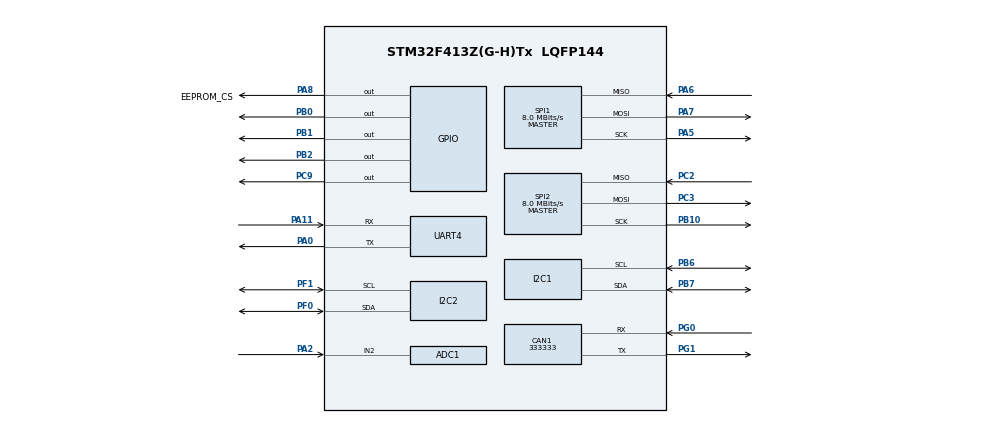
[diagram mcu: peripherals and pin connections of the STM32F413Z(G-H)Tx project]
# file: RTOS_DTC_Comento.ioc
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ADC1.Channel-2\#ChannelRegularConversion=ADC_CHANNEL_2
ADC1.NbrOfConversionFlag=1
ADC1.Rank-2\#ChannelRegularConversion=1
ADC1.SamplingTime-2\#ChannelRegularConversion=ADC_SAMPLETIME_3CYCLES
ADC1.master=1
CAN1.CalculateBaudRate=333333
CAN1.CalculateTimeBit=3000
CAN1.CalculateTimeQuantum=1000.0
Dma.I2C1_RX.7.Direction=DMA_PERIPH_TO_MEMORY
Dma.I2C1_RX.7.FIFOMode=DMA_FIFOMODE_DISABLE
Dma.I2C1_RX.7.Instance=DMA1_Stream0
Dma.I2C1_RX.7.MemDataAlignment=DMA_MDATAALIGN_BYTE
Dma.I2C1_RX.7.MemInc=DMA_MINC_ENABLE
Dma.I2C1_RX.7.Mode=DMA_NORMAL
Dma.I2C1_RX.7.PeriphDataAlignment=DMA_PDATAALIGN_BYTE
Dma.I2C1_RX.7.PeriphInc=DMA_PINC_DISABLE
Dma.I2C1_RX.7.Priority=DMA_PRIORITY_LOW
Dma.I2C1_TX.0.Direction=DMA_MEMORY_TO_PERIPH
Dma.I2C1_TX.0.FIFOMode=DMA_FIFOMODE_DISABLE
Dma.I2C1_TX.0.Instance=DMA1_Stream6
Dma.I2C1_TX.0.MemDataAlignment=DMA_MDATAALIGN_BYTE
Dma.I2C1_TX.0.MemInc=DMA_MINC_ENABLE
Dma.I2C1_TX.0.Mode=DMA_NORMAL
Dma.I2C1_TX.0.PeriphDataAlignment=DMA_PDATAALIGN_BYTE
Dma.I2C1_TX.0.PeriphInc=DMA_PINC_DISABLE
Dma.I2C1_TX.0.Priority=DMA_PRIORITY_MEDIUM
Dma.I2C2_RX.1.Direction=DMA_PERIPH_TO_MEMORY
Dma.I2C2_RX.1.FIFOMode=DMA_FIFOMODE_DISABLE
Dma.I2C2_RX.1.Instance=DMA1_Stream2
Dma.I2C2_RX.1.MemDataAlignment=DMA_MDATAALIGN_BYTE
Dma.I2C2_RX.1.MemInc=DMA_MINC_ENABLE
Dma.I2C2_RX.1.Mode=DMA_NORMAL
Dma.I2C2_RX.1.PeriphDataAlignment=DMA_PDATAALIGN_BYTE
Dma.I2C2_RX.1.PeriphInc=DMA_PINC_DISABLE
Dma.I2C2_RX.1.Priority=DMA_PRIORITY_LOW
Dma.I2C2_TX.2.Direction=DMA_MEMORY_TO_PERIPH
Dma.I2C2_TX.2.FIFOMode=DMA_FIFOMODE_DISABLE
Dma.I2C2_TX.2.Instance=DMA1_Stream7
Dma.I2C2_TX.2.MemDataAlignment=DMA_MDATAALIGN_BYTE
Dma.I2C2_TX.2.MemInc=DMA_MINC_ENABLE
Dma.I2C2_TX.2.Mode=DMA_NORMAL
Dma.I2C2_TX.2.PeriphDataAlignment=DMA_PDATAALIGN_BYTE
Dma.I2C2_TX.2.PeriphInc=DMA_PINC_DISABLE
Dma.I2C2_TX.2.Priority=DMA_PRIORITY_LOW
Dma.Request0=I2C1_TX
Dma.Request1=I2C2_RX
Dma.Request2=I2C2_TX
Dma.Request3=SPI1_RX
Dma.Request4=SPI1_TX
Dma.Request5=SPI2_RX
Dma.Request6=SPI2_TX
Dma.Request7=I2C1_RX
Dma.SPI1_RX.3.Direction=DMA_PERIPH_TO_MEMORY
Dma.SPI1_RX.3.FIFOMode=DMA_FIFOMODE_DISABLE
Dma.SPI1_RX.3.Instance=DMA2_Stream0
Dma.SPI1_RX.3.MemDataAlignment=DMA_MDATAALIGN_BYTE
Dma.SPI1_RX.3.MemInc=DMA_MINC_ENABLE
Dma.SPI1_RX.3.Mode=DMA_NORMAL
Dma.SPI1_RX.3.PeriphDataAlignment=DMA_PDATAALIGN_BYTE
Dma.SPI1_RX.3.PeriphInc=DMA_PINC_DISABLE
Dma.SPI1_RX.3.Priority=DMA_PRIORITY_LOW
Dma.SPI1_TX.4.Direction=DMA_MEMORY_TO_PERIPH
Dma.SPI1_TX.4.FIFOMode=DMA_FIFOMODE_DISABLE
Dma.SPI1_TX.4.Instance=DMA2_Stream3
Dma.SPI1_TX.4.MemDataAlignment=DMA_MDATAALIGN_BYTE
Dma.SPI1_TX.4.MemInc=DMA_MINC_ENABLE
Dma.SPI1_TX.4.Mode=DMA_NORMAL
Dma.SPI1_TX.4.PeriphDataAlignment=DMA_PDATAALIGN_BYTE
Dma.SPI1_TX.4.PeriphInc=DMA_PINC_DISABLE
Dma.SPI1_TX.4.Priority=DMA_PRIORITY_LOW
Dma.SPI2_RX.5.Direction=DMA_PERIPH_TO_MEMORY
Dma.SPI2_RX.5.FIFOMode=DMA_FIFOMODE_DISABLE
Dma.SPI2_RX.5.Instance=DMA1_Stream3
Dma.SPI2_RX.5.MemDataAlignment=DMA_MDATAALIGN_BYTE
Dma.SPI2_RX.5.MemInc=DMA_MINC_ENABLE
Dma.SPI2_RX.5.Mode=DMA_NORMAL
Dma.SPI2_RX.5.PeriphDataAlignment=DMA_PDATAALIGN_BYTE
Dma.SPI2_RX.5.PeriphInc=DMA_PINC_DISABLE
Dma.SPI2_RX.5.Priority=DMA_PRIORITY_LOW
Dma.SPI2_TX.6.Direction=DMA_MEMORY_TO_PERIPH
Dma.SPI2_TX.6.FIFOMode=DMA_FIFOMODE_DISABLE
Dma.SPI2_TX.6.Instance=DMA1_Stream4
Dma.SPI2_TX.6.MemDataAlignment=DMA_MDATAALIGN_BYTE
Dma.SPI2_TX.6.MemInc=DMA_MINC_ENABLE
Dma.SPI2_TX.6.Mode=DMA_NORMAL
Dma.SPI2_TX.6.PeriphDataAlignment=DMA_PDATAALIGN_BYTE
Dma.SPI2_TX.6.PeriphInc=DMA_PINC_DISABLE
Dma.SPI2_TX.6.Priority=DMA_PRIORITY_LOW
FREERTOS.Mutexes01=CommMutexHandle,Dynamic,NULL,Available
FREERTOS.Queues01=CanQueue,8,8,1,Dynamic,NULL,NULL
FREERTOS.Tasks01=defaultTask,24,128,StartDefaultTask,Default,NULL,Dynamic,NULL,NULL;I2CTask,24,128,StartI2CTask,Default,NULL,Dynamic,NULL,NULL;SPITask,24,128,StartSPITask,Default,NULL,Dynamic,NULL,NULL;CANTask,24,128,StartCANTask,Default,NULL,Dynamic,NULL,NULL;UARTTask,24,128,StartUARTTask,Default,NULL,Dynamic,NULL,NULL
Mcu.Family=STM32F4
Mcu.Name=STM32F413Z(G-H)Tx
Mcu.Package=LQFP144
NVIC.CAN1_RX0_IRQn=true\:5\:0\:false\:false\:true\:true\:true\:true\:true
NVIC.CAN1_TX_IRQn=true\:5\:0\:false\:false\:true\:true\:true\:true\:true
NVIC.DMA1_Stream0_IRQn=true\:5\:0\:false\:false\:true\:true\:false\:true\:true
NVIC.DMA1_Stream2_IRQn=true\:5\:0\:false\:false\:true\:true\:false\:true\:true
NVIC.DMA1_Stream3_IRQn=true\:5\:0\:false\:false\:true\:true\:false\:true\:true
NVIC.DMA1_Stream4_IRQn=true\:5\:0\:false\:false\:true\:true\:false\:true\:true
NVIC.DMA1_Stream6_IRQn=true\:5\:0\:false\:false\:true\:false\:false\:true\:true
NVIC.DMA1_Stream7_IRQn=true\:5\:0\:false\:false\:true\:true\:false\:true\:true
NVIC.DMA2_Stream0_IRQn=true\:5\:0\:false\:false\:true\:true\:false\:true\:true
NVIC.DMA2_Stream3_IRQn=true\:5\:0\:false\:false\:true\:false\:false\:true\:true
NVIC.I2C1_ER_IRQn=true\:5\:0\:false\:false\:true\:true\:true\:true\:true
NVIC.I2C1_EV_IRQn=true\:5\:0\:false\:false\:true\:true\:true\:true\:true
NVIC.I2C2_EV_IRQn=true\:5\:0\:false\:false\:true\:true\:true\:true\:true
NVIC.PriorityGroup=NVIC_PRIORITYGROUP_4
NVIC.SPI1_IRQn=true\:5\:0\:false\:false\:true\:true\:true\:true\:true
NVIC.SPI2_IRQn=true\:5\:0\:false\:false\:true\:true\:true\:true\:true
NVIC.UART4_IRQn=true\:5\:0\:false\:false\:true\:true\:true\:true\:true
PA0.Mode=Asynchronous
PA0.Signal=UART4_TX
PA11.Mode=Asynchronous
PA11.Signal=UART4_RX
PA2.Signal=ADCx_IN2
PA5.Mode=Full_Duplex_Master
PA5.Signal=SPI1_SCK
PA6.Mode=Full_Duplex_Master
PA6.Signal=SPI1_MISO
PA7.Mode=Full_Duplex_Master
PA7.Signal=SPI1_MOSI
PA8.GPIO_Label=EEPROM_CS
PA8.PinState=GPIO_PIN_SET
PA8.Signal=GPIO_Output
PB0.GPIO_Speed=GPIO_SPEED_FREQ_MEDIUM
PB0.PinState=GPIO_PIN_SET
PB0.Signal=GPIO_Output
PB1.GPIO_Speed=GPIO_SPEED_FREQ_MEDIUM
PB1.PinState=GPIO_PIN_SET
PB1.Signal=GPIO_Output
PB10.Mode=Full_Duplex_Master
PB10.Signal=SPI2_SCK
PB2.GPIO_ModeDefaultOutputPP=GPIO_MODE_OUTPUT_OD
PB2.GPIO_PuPd=GPIO_NOPULL
PB2.GPIO_Speed=GPIO_SPEED_FREQ_MEDIUM
PB2.PinState=GPIO_PIN_SET
PB2.Signal=GPIO_Output
PB6.Mode=I2C
PB6.Signal=I2C1_SCL
PB7.Mode=I2C
PB7.Signal=I2C1_SDA
PC2.Mode=Full_Duplex_Master
PC2.Signal=SPI2_MISO
PC3.Mode=Full_Duplex_Master
PC3.Signal=SPI2_MOSI
PC9.PinState=GPIO_PIN_RESET
PC9.Signal=GPIO_Output
PF0.Mode=I2C
PF0.Signal=I2C2_SDA
PF1.Mode=I2C
PF1.Signal=I2C2_SCL
PG0.Mode=CAN_Activate
PG0.Signal=CAN1_RX
PG1.Mode=CAN_Activate
PG1.Signal=CAN1_TX
ProjectManager.HeapSize=0x200
ProjectManager.StackSize=0x400
ProjectManager.TargetToolchain=STM32CubeIDE
RCC.CortexFreq_Value=16000000
RCC.USBFreq_Value=96000000
RCC.VCOOutputFreq_Value=192000000
SH.ADCx_IN2.0=ADC1_IN2,IN2
SPI1.CalculateBaudRate=8.0 MBits/s
SPI1.Direction=SPI_DIRECTION_2LINES
SPI1.Mode=SPI_MODE_MASTER
SPI1.VirtualType=VM_MASTER
SPI2.CalculateBaudRate=8.0 MBits/s
SPI2.Direction=SPI_DIRECTION_2LINES
SPI2.Mode=SPI_MODE_MASTER
SPI2.VirtualType=VM_MASTER
UART4.VirtualMode=Asynchronous
VP_FREERTOS_VS_CMSIS_V2.Mode=CMSIS_V2
board=custom

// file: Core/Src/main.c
/* USER CODE BEGIN Header */
/**
  ******************************************************************************
  * @file           : main.c
  * @brief          : Main program body
  ******************************************************************************
  * @attention
  *
  * <h2><center>&copy; Copyright (c) 2025 STMicroelectronics.
  * All rights reserved.</center></h2>
  *
  * This software component is licensed by ST under BSD 3-Clause license,
  * the "License"; You may not use this file except in compliance with the
  * License. You may obtain a copy of the License at:
  *                        opensource.org/licenses/BSD-3-Clause
  *
  ******************************************************************************
  */
/* USER CODE END Header */
#include "main.h"
#include "cmsis_os.h"

/* USER CODE BEGIN PTD */
typedef enum
{
    PMIC_STATUS1 = 0x27,
    PMIC_STATUS2 = 0x28
} PMIC_StatusReg_t;

typedef union
{
	uint8_t value;
	struct
	{
	    uint8_t PGBUCK1   : 1;   // D0
	    uint8_t PGBUCK2   : 1;   // D1
	    uint8_t PGBUCK3   : 1;   // D2
	    uint8_t PGBUCK4   : 1;   // D3
	    uint8_t reserved1 : 1;   // D4
	    uint8_t PGLDO2    : 1;   // D5
	    uint8_t reserved2 : 1;   // D6
	    uint8_t PGLDO4    : 1;   // D7
	}bit;
} PMIC_Status1_t;

typedef union
{
	uint8_t value;
	struct
	{
		uint8_t reserved1 : 1;
		uint8_t reserved2 : 1;
		uint8_t reserved3 : 1;
		uint8_t reserved4 : 1;
		uint8_t checksumFlag : 1;
		uint8_t reserved5 : 1;
		uint8_t otempp : 1;
		uint8_t otwarning : 1;
	} bit;
} PMIC_Status2_t;

typedef union
{
    uint8_t value;

    struct
    {
        uint8_t testFailed                         : 1;  // bit0
        uint8_t testFailedThisOperationCycle      : 1;  // bit1
        uint8_t pendingDTC                        : 1;  // bit2
        uint8_t confirmedDTC                      : 1;  // bit3
        uint8_t testNotCompletedSinceLastClear    : 1;  // bit4
        uint8_t testFailedSinceLastClear          : 1;  // bit5
        uint8_t testNotCompletedThisOperationCycle: 1;  // bit6
        uint8_t warningIndicatorRequested         : 1;  // bit7
    } bit;

} DTC_Status_t;

typedef struct
{
    uint8_t dtc[3];
    DTC_Status_t status;

} DTC_Record_t;

/* USER CODE END PTD */

/* USER CODE BEGIN PM */
/* =========================================================
 * PMIC
 * ========================================================= */

/* MP5424 I2C 7-bit Slave Address */
#define SLAVE_ADDR                 0x69

/* Buck4 Voltage Control */
#define PMIC_BUCK4_VREF_REG        0x0F
#define PMIC_BUCK4_1V2_CODE        0x40

/* =========================================================
 * 25LC256 EEPROM
 * ========================================================= */

/* EEPROM Instruction */
#define EEPROM_CMD_READ            0x03
#define EEPROM_CMD_WRITE           0x02
#define EEPROM_CMD_WRDI            0x04
#define EEPROM_CMD_WREN            0x06
#define EEPROM_CMD_RDSR            0x05

/* DTC 저장 시작 주소 */
#define EEPROM_DTC_ADDR            0x0000

/* EEPROM Chip Select Control
 * EEPROM_CS_Pin / EEPROM_CS_GPIO_Port는
 * CubeMX가 main.h에 생성한 값 사용
 */
#define EEPROM_CS_LOW()  HAL_GPIO_WritePin(EEPROM_CS_GPIO_Port, EEPROM_CS_Pin, GPIO_PIN_RESET)
#define EEPROM_CS_HIGH() HAL_GPIO_WritePin(EEPROM_CS_GPIO_Port, EEPROM_CS_Pin, GPIO_PIN_SET)

#define TESTCASE_NORMAL        0
#define TESTCASE_PMIC_FAULT    1
#define TESTCASE_DTC_READ      2
#define TESTCASE_DTC_CLEAR     3

#define TESTCASE               TESTCASE_DTC_CLEAR

/* USER CODE END PM */

ADC_HandleTypeDef hadc1;

CAN_HandleTypeDef hcan1;

I2C_HandleTypeDef hi2c1;
I2C_HandleTypeDef hi2c2;
DMA_HandleTypeDef hdma_i2c1_tx;
DMA_HandleTypeDef hdma_i2c1_rx;
DMA_HandleTypeDef hdma_i2c2_rx;
DMA_HandleTypeDef hdma_i2c2_tx;

SPI_HandleTypeDef hspi1;
SPI_HandleTypeDef hspi2;
DMA_HandleTypeDef hdma_spi1_rx;
DMA_HandleTypeDef hdma_spi1_tx;
DMA_HandleTypeDef hdma_spi2_rx;
DMA_HandleTypeDef hdma_spi2_tx;

UART_HandleTypeDef huart4;

/* Definitions for defaultTask */
osThreadId_t defaultTaskHandle;
const osThreadAttr_t defaultTask_attributes = {
  .name = "defaultTask",
  .stack_size = 128 * 4,
  .priority = (osPriority_t) osPriorityNormal,
};
/* Definitions for I2CTask */
osThreadId_t I2CTaskHandle;
const osThreadAttr_t I2CTask_attributes = {
  .name = "I2CTask",
  .stack_size = 128 * 4,
  .priority = (osPriority_t) osPriorityNormal,
};
/* Definitions for SPITask */
osThreadId_t SPITaskHandle;
const osThreadAttr_t SPITask_attributes = {
  .name = "SPITask",
  .stack_size = 128 * 4,
  .priority = (osPriority_t) osPriorityNormal,
};
/* Definitions for CANTask */
osThreadId_t CANTaskHandle;
const osThreadAttr_t CANTask_attributes = {
  .name = "CANTask",
  .stack_size = 128 * 4,
  .priority = (osPriority_t) osPriorityNormal,
};
/* Definitions for UARTTask */
osThreadId_t UARTTaskHandle;
const osThreadAttr_t UARTTask_attributes = {
  .name = "UARTTask",
  .stack_size = 128 * 4,
  .priority = (osPriority_t) osPriorityNormal,
};
/* Definitions for CanQueue */
osMessageQueueId_t CanQueueHandle;
const osMessageQueueAttr_t CanQueue_attributes = {
  .name = "CanQueue"
};
/* Definitions for CommMutexHandle */
osMutexId_t CommMutexHandleHandle;
const osMutexAttr_t CommMutexHandle_attributes = {
  .name = "CommMutexHandle"
};

/* USER CODE BEGIN PV */
/* =========================================================
 * PMIC
 * ========================================================= */

/* MP5424 I2C 7-bit Slave Address */
#define SLAVE_ADDR                 0x69

/* PMIC Status Register */
#define PMIC_STATUS1               0x27
#define PMIC_STATUS2               0x28

/* Buck4 Voltage Control */
#define PMIC_BUCK4_VREF_REG        0x0F
#define PMIC_BUCK4_1V2_CODE        0x40

PMIC_Status1_t status1;
PMIC_Status2_t status2;

/* I2C Status Read 진행 단계 */
volatile uint8_t i2c_step = 0;

/* PMIC Voltage Change */
uint8_t buck4_vref_data = PMIC_BUCK4_1V2_CODE;

volatile uint8_t pmic_voltage_change_request = 1;
volatile uint8_t pmic_voltage_write_busy = 0;

/* =========================================================
 * DTC
 * ========================================================= */

DTC_Record_t brake_dtc;

/* PMIC Fault 발생 후 EEPROM 저장 요청 */
volatile uint8_t dtc_save_request = 0;

/* EEPROM Read-back 완료 여부 */
volatile uint8_t dtc_read_ready = 0;

/* =========================================================
 * 25LC256 EEPROM
 * ========================================================= */

/* 25LC256 Instruction */
#define EEPROM_CMD_READ            0x03
#define EEPROM_CMD_WRITE           0x02
#define EEPROM_CMD_WRDI            0x04
#define EEPROM_CMD_WREN            0x06
#define EEPROM_CMD_RDSR            0x05

/* WREN Command */
uint8_t eeprom_wren_cmd = EEPROM_CMD_WREN;

/*
 * WRITE Packet
 *
 * [0] WRITE Command
 * [1] Address High
 * [2] Address Low
 * [3] DTC Byte 1
 * [4] DTC Byte 2
 * [5] DTC Byte 3
 * [6] DTC Status
 */
uint8_t eeprom_write_data[7];

/*
 * RDSR
 *
 * TX
 * [0] RDSR Command
 * [1] Dummy
 *
 * RX
 * [1] Status Register
 */
uint8_t eeprom_status_tx[2] =
{
    EEPROM_CMD_RDSR,
    0x00
};

uint8_t eeprom_status_rx[2] = {0};

/*
 * READ-back
 *
 * TX
 * [0] READ Command
 * [1] Address High
 * [2] Address Low
 * [3~6] Dummy
 *
 * RX
 * [3~6] EEPROM Data
 */
uint8_t eeprom_read_tx[7] = {0};
uint8_t eeprom_read_rx[7] = {0};

/* READ-back한 실제 DTC 4Byte */
uint8_t eeprom_read_data[4] = {0};

/* EEPROM State Machine */
volatile uint8_t eeprom_step = 0;

/* SPI DMA 사용 중 여부 */
volatile uint8_t spi_busy = 0;

/* EEPROM Write / Read-back 검증 오류 */
volatile uint8_t eeprom_error = 0;

/* =========================================================
 * CAN
 * ========================================================= */

CAN_RxHeaderTypeDef RxHeader;
uint8_t RxData[8];

volatile uint8_t can_rx_flag = 0;

CAN_TxHeaderTypeDef TxHeader;
uint8_t TxData[8];

uint32_t TxMailbox;

/* USER CODE END PV */

void SystemClock_Config(void);
static void MX_GPIO_Init(void);
static void MX_DMA_Init(void);
static void MX_ADC1_Init(void);
static void MX_CAN1_Init(void);
static void MX_I2C1_Init(void);
static void MX_I2C2_Init(void);
static void MX_SPI1_Init(void);
static void MX_SPI2_Init(void);
static void MX_UART4_Init(void);
void StartDefaultTask(void *argument);
void StartI2CTask(void *argument);
void StartSPITask(void *argument);
void StartCANTask(void *argument);
void StartUARTTask(void *argument);

/* USER CODE BEGIN PFP */
void WorkI2C(void);
void WorkSPI(void);
void WorkCAN(void);
void WorkUART(void);
/* USER CODE END PFP */

int main(void)
{

  /* MCU Configuration--------------------------------------------------------*/

  /* Reset of all peripherals, Initializes the Flash interface and the Systick. */
  HAL_Init();

  /* Configure the system clock */
  SystemClock_Config();

  /* Initialize all configured peripherals */
  MX_GPIO_Init();
  MX_DMA_Init();
  MX_ADC1_Init();
  MX_CAN1_Init();
  MX_I2C1_Init();
  MX_I2C2_Init();
  MX_SPI1_Init();
  MX_SPI2_Init();
  MX_UART4_Init();

  /* Init scheduler */
  osKernelInitialize();
  /* Create the mutex(es) */
  /* creation of CommMutexHandle */
  CommMutexHandleHandle = osMutexNew(&CommMutexHandle_attributes);

  /* Create the queue(s) */
  /* creation of CanQueue */
  CanQueueHandle = osMessageQueueNew (8, 8, &CanQueue_attributes);

  /* Create the thread(s) */
  /* creation of defaultTask */
  defaultTaskHandle = osThreadNew(StartDefaultTask, NULL, &defaultTask_attributes);

  /* creation of I2CTask */
  I2CTaskHandle = osThreadNew(StartI2CTask, NULL, &I2CTask_attributes);

  /* creation of SPITask */
  SPITaskHandle = osThreadNew(StartSPITask, NULL, &SPITask_attributes);

  /* creation of CANTask */
  CANTaskHandle = osThreadNew(StartCANTask, NULL, &CANTask_attributes);

  /* creation of UARTTask */
  UARTTaskHandle = osThreadNew(StartUARTTask, NULL, &UARTTask_attributes);

  /* Start scheduler */
  osKernelStart();

  /* We should never get here as control is now taken by the scheduler */

  /* Infinite loop */
  /* USER CODE BEGIN WHILE */
	#if TESTCASE == TESTCASE_PMIC_FAULT

	brake_dtc.dtc[0] = 0x12;
	brake_dtc.dtc[1] = 0x34;
	brake_dtc.dtc[2] = 0x56;
	brake_dtc.status.value = 0x26;

	dtc_save_request = 1;

	#endif

	#if TESTCASE == TESTCASE_DTC_READ
	RxData[0] = 0x19;
	RxData[1] = 0x0B;
	can_rx_flag = 1;
	#endif

	#if TESTCASE == TESTCASE_DTC_CLEAR
	RxData[0] = 0x14;
	can_rx_flag = 1;
	#endif

  while (1)
  {
    /* USER CODE END WHILE */

    /* USER CODE BEGIN 3 */
	  WorkI2C();
	  WorkSPI();
	  WorkCAN();
	  WorkUART();
  }
  /* USER CODE END 3 */
}

void SystemClock_Config(void)
{
  RCC_OscInitTypeDef RCC_OscInitStruct = {0};
  RCC_ClkInitTypeDef RCC_ClkInitStruct = {0};

  /** Configure the main internal regulator output voltage
  */
  __HAL_RCC_PWR_CLK_ENABLE();
  __HAL_PWR_VOLTAGESCALING_CONFIG(PWR_REGULATOR_VOLTAGE_SCALE1);

  /** Initializes the RCC Oscillators according to the specified parameters
  * in the RCC_OscInitTypeDef structure.
  */
  RCC_OscInitStruct.OscillatorType = RCC_OSCILLATORTYPE_HSI;
  RCC_OscInitStruct.HSIState = RCC_HSI_ON;
  RCC_OscInitStruct.HSICalibrationValue = RCC_HSICALIBRATION_DEFAULT;
  RCC_OscInitStruct.PLL.PLLState = RCC_PLL_NONE;
  if (HAL_RCC_OscConfig(&RCC_OscInitStruct) != HAL_OK)
  {
    Error_Handler();
  }

  /** Initializes the CPU, AHB and APB buses clocks
  */
  RCC_ClkInitStruct.ClockType = RCC_CLOCKTYPE_HCLK|RCC_CLOCKTYPE_SYSCLK
                              |RCC_CLOCKTYPE_PCLK1|RCC_CLOCKTYPE_PCLK2;
  RCC_ClkInitStruct.SYSCLKSource = RCC_SYSCLKSOURCE_HSI;
  RCC_ClkInitStruct.AHBCLKDivider = RCC_SYSCLK_DIV1;
  RCC_ClkInitStruct.APB1CLKDivider = RCC_HCLK_DIV1;
  RCC_ClkInitStruct.APB2CLKDivider = RCC_HCLK_DIV1;

  if (HAL_RCC_ClockConfig(&RCC_ClkInitStruct, FLASH_LATENCY_0) != HAL_OK)
  {
    Error_Handler();
  }
}

static void MX_ADC1_Init(void)
{

  ADC_ChannelConfTypeDef sConfig = {0};

  /** Configure the global features of the ADC (Clock, Resolution, Data Alignment and number of conversion)
  */
  hadc1.Instance = ADC1;
  hadc1.Init.ClockPrescaler = ADC_CLOCK_SYNC_PCLK_DIV2;
  hadc1.Init.Resolution = ADC_RESOLUTION_12B;
  hadc1.Init.ScanConvMode = DISABLE;
  hadc1.Init.ContinuousConvMode = DISABLE;
  hadc1.Init.DiscontinuousConvMode = DISABLE;
  hadc1.Init.ExternalTrigConvEdge = ADC_EXTERNALTRIGCONVEDGE_NONE;
  hadc1.Init.ExternalTrigConv = ADC_SOFTWARE_START;
  hadc1.Init.DataAlign = ADC_DATAALIGN_RIGHT;
  hadc1.Init.NbrOfConversion = 1;
  hadc1.Init.DMAContinuousRequests = DISABLE;
  hadc1.Init.EOCSelection = ADC_EOC_SINGLE_CONV;
  if (HAL_ADC_Init(&hadc1) != HAL_OK)
  {
    Error_Handler();
  }

  /** Configure for the selected ADC regular channel its corresponding rank in the sequencer and its sample time.
  */
  sConfig.Channel = ADC_CHANNEL_2;
  sConfig.Rank = 1;
  sConfig.SamplingTime = ADC_SAMPLETIME_3CYCLES;
  if (HAL_ADC_ConfigChannel(&hadc1, &sConfig) != HAL_OK)
  {
    Error_Handler();
  }

}

static void MX_CAN1_Init(void)
{

  hcan1.Instance = CAN1;
  hcan1.Init.Prescaler = 16;
  hcan1.Init.Mode = CAN_MODE_NORMAL;
  hcan1.Init.SyncJumpWidth = CAN_SJW_1TQ;
  hcan1.Init.TimeSeg1 = CAN_BS1_1TQ;
  hcan1.Init.TimeSeg2 = CAN_BS2_1TQ;
  hcan1.Init.TimeTriggeredMode = DISABLE;
  hcan1.Init.AutoBusOff = DISABLE;
  hcan1.Init.AutoWakeUp = DISABLE;
  hcan1.Init.AutoRetransmission = DISABLE;
  hcan1.Init.ReceiveFifoLocked = DISABLE;
  hcan1.Init.TransmitFifoPriority = DISABLE;
  if (HAL_CAN_Init(&hcan1) != HAL_OK)
  {
    Error_Handler();
  }
  /* USER CODE BEGIN CAN1_Init 2 */
  HAL_CAN_Start(&hcan1);

  HAL_CAN_ActivateNotification(
      &hcan1,
      CAN_IT_RX_FIFO0_MSG_PENDING
  );
  /* USER CODE END CAN1_Init 2 */

}

static void MX_I2C1_Init(void)
{

  hi2c1.Instance = I2C1;
  hi2c1.Init.ClockSpeed = 100000;
  hi2c1.Init.DutyCycle = I2C_DUTYCYCLE_2;
  hi2c1.Init.OwnAddress1 = 0;
  hi2c1.Init.AddressingMode = I2C_ADDRESSINGMODE_7BIT;
  hi2c1.Init.DualAddressMode = I2C_DUALADDRESS_DISABLE;
  hi2c1.Init.OwnAddress2 = 0;
  hi2c1.Init.GeneralCallMode = I2C_GENERALCALL_DISABLE;
  hi2c1.Init.NoStretchMode = I2C_NOSTRETCH_DISABLE;
  if (HAL_I2C_Init(&hi2c1) != HAL_OK)
  {
    Error_Handler();
  }

}

static void MX_I2C2_Init(void)
{

  hi2c2.Instance = I2C2;
  hi2c2.Init.ClockSpeed = 100000;
  hi2c2.Init.DutyCycle = I2C_DUTYCYCLE_2;
  hi2c2.Init.OwnAddress1 = 0;
  hi2c2.Init.AddressingMode = I2C_ADDRESSINGMODE_7BIT;
  hi2c2.Init.DualAddressMode = I2C_DUALADDRESS_DISABLE;
  hi2c2.Init.OwnAddress2 = 0;
  hi2c2.Init.GeneralCallMode = I2C_GENERALCALL_DISABLE;
  hi2c2.Init.NoStretchMode = I2C_NOSTRETCH_DISABLE;
  if (HAL_I2C_Init(&hi2c2) != HAL_OK)
  {
    Error_Handler();
  }

}

static void MX_SPI1_Init(void)
{

  /* SPI1 parameter configuration*/
  hspi1.Instance = SPI1;
  hspi1.Init.Mode = SPI_MODE_MASTER;
  hspi1.Init.Direction = SPI_DIRECTION_2LINES;
  hspi1.Init.DataSize = SPI_DATASIZE_8BIT;
  hspi1.Init.CLKPolarity = SPI_POLARITY_LOW;
  hspi1.Init.CLKPhase = SPI_PHASE_1EDGE;
  hspi1.Init.NSS = SPI_NSS_SOFT;
  hspi1.Init.BaudRatePrescaler = SPI_BAUDRATEPRESCALER_2;
  hspi1.Init.FirstBit = SPI_FIRSTBIT_MSB;
  hspi1.Init.TIMode = SPI_TIMODE_DISABLE;
  hspi1.Init.CRCCalculation = SPI_CRCCALCULATION_DISABLE;
  hspi1.Init.CRCPolynomial = 10;
  if (HAL_SPI_Init(&hspi1) != HAL_OK)
  {
    Error_Handler();
  }

}

static void MX_SPI2_Init(void)
{

  /* SPI2 parameter configuration*/
  hspi2.Instance = SPI2;
  hspi2.Init.Mode = SPI_MODE_MASTER;
  hspi2.Init.Direction = SPI_DIRECTION_2LINES;
  hspi2.Init.DataSize = SPI_DATASIZE_8BIT;
  hspi2.Init.CLKPolarity = SPI_POLARITY_LOW;
  hspi2.Init.CLKPhase = SPI_PHASE_1EDGE;
  hspi2.Init.NSS = SPI_NSS_SOFT;
  hspi2.Init.BaudRatePrescaler = SPI_BAUDRATEPRESCALER_2;
  hspi2.Init.FirstBit = SPI_FIRSTBIT_MSB;
  hspi2.Init.TIMode = SPI_TIMODE_DISABLE;
  hspi2.Init.CRCCalculation = SPI_CRCCALCULATION_DISABLE;
  hspi2.Init.CRCPolynomial = 10;
  if (HAL_SPI_Init(&hspi2) != HAL_OK)
  {
    Error_Handler();
  }

}

static void MX_UART4_Init(void)
{

  huart4.Instance = UART4;
  huart4.Init.BaudRate = 115200;
  huart4.Init.WordLength = UART_WORDLENGTH_8B;
  huart4.Init.StopBits = UART_STOPBITS_1;
  huart4.Init.Parity = UART_PARITY_NONE;
  huart4.Init.Mode = UART_MODE_TX_RX;
  huart4.Init.HwFlowCtl = UART_HWCONTROL_NONE;
  huart4.Init.OverSampling = UART_OVERSAMPLING_16;
  if (HAL_UART_Init(&huart4) != HAL_OK)
  {
    Error_Handler();
  }

}

static void MX_DMA_Init(void)
{

  /* DMA controller clock enable */
  __HAL_RCC_DMA1_CLK_ENABLE();
  __HAL_RCC_DMA2_CLK_ENABLE();

  /* DMA interrupt init */
  /* DMA1_Stream0_IRQn interrupt configuration */
  HAL_NVIC_SetPriority(DMA1_Stream0_IRQn, 5, 0);
  HAL_NVIC_EnableIRQ(DMA1_Stream0_IRQn);
  /* DMA1_Stream2_IRQn interrupt configuration */
  HAL_NVIC_SetPriority(DMA1_Stream2_IRQn, 5, 0);
  HAL_NVIC_EnableIRQ(DMA1_Stream2_IRQn);
  /* DMA1_Stream3_IRQn interrupt configuration */
  HAL_NVIC_SetPriority(DMA1_Stream3_IRQn, 5, 0);
  HAL_NVIC_EnableIRQ(DMA1_Stream3_IRQn);
  /* DMA1_Stream4_IRQn interrupt configuration */
  HAL_NVIC_SetPriority(DMA1_Stream4_IRQn, 5, 0);
  HAL_NVIC_EnableIRQ(DMA1_Stream4_IRQn);
  /* DMA1_Stream6_IRQn interrupt configuration */
  HAL_NVIC_SetPriority(DMA1_Stream6_IRQn, 5, 0);
  HAL_NVIC_EnableIRQ(DMA1_Stream6_IRQn);
  /* DMA1_Stream7_IRQn interrupt configuration */
  HAL_NVIC_SetPriority(DMA1_Stream7_IRQn, 5, 0);
  HAL_NVIC_EnableIRQ(DMA1_Stream7_IRQn);
  /* DMA2_Stream0_IRQn interrupt configuration */
  HAL_NVIC_SetPriority(DMA2_Stream0_IRQn, 5, 0);
  HAL_NVIC_EnableIRQ(DMA2_Stream0_IRQn);
  /* DMA2_Stream3_IRQn interrupt configuration */
  HAL_NVIC_SetPriority(DMA2_Stream3_IRQn, 5, 0);
  HAL_NVIC_EnableIRQ(DMA2_Stream3_IRQn);

}

static void MX_GPIO_Init(void)
{
  GPIO_InitTypeDef GPIO_InitStruct = {0};

  /* GPIO Ports Clock Enable */
  __HAL_RCC_GPIOF_CLK_ENABLE();
  __HAL_RCC_GPIOC_CLK_ENABLE();
  __HAL_RCC_GPIOA_CLK_ENABLE();
  __HAL_RCC_GPIOB_CLK_ENABLE();
  __HAL_RCC_GPIOG_CLK_ENABLE();

  /*Configure GPIO pin Output Level */
  HAL_GPIO_WritePin(GPIOB, GPIO_PIN_0|GPIO_PIN_1|GPIO_PIN_2, GPIO_PIN_SET);

  /*Configure GPIO pin Output Level */
  HAL_GPIO_WritePin(GPIOC, GPIO_PIN_9, GPIO_PIN_RESET);

  /*Configure GPIO pin Output Level */
  HAL_GPIO_WritePin(EEPROM_CS_GPIO_Port, EEPROM_CS_Pin, GPIO_PIN_SET);

  /*Configure GPIO pins : PB0 PB1 */
  GPIO_InitStruct.Pin = GPIO_PIN_0|GPIO_PIN_1;
  GPIO_InitStruct.Mode = GPIO_MODE_OUTPUT_PP;
  GPIO_InitStruct.Pull = GPIO_NOPULL;
  GPIO_InitStruct.Speed = GPIO_SPEED_FREQ_MEDIUM;
  HAL_GPIO_Init(GPIOB, &GPIO_InitStruct);

  /*Configure GPIO pin : PB2 */
  GPIO_InitStruct.Pin = GPIO_PIN_2;
  GPIO_InitStruct.Mode = GPIO_MODE_OUTPUT_OD;
  GPIO_InitStruct.Pull = GPIO_NOPULL;
  GPIO_InitStruct.Speed = GPIO_SPEED_FREQ_MEDIUM;
  HAL_GPIO_Init(GPIOB, &GPIO_InitStruct);

  /*Configure GPIO pin : PC9 */
  GPIO_InitStruct.Pin = GPIO_PIN_9;
  GPIO_InitStruct.Mode = GPIO_MODE_OUTPUT_PP;
  GPIO_InitStruct.Pull = GPIO_NOPULL;
  GPIO_InitStruct.Speed = GPIO_SPEED_FREQ_LOW;
  HAL_GPIO_Init(GPIOC, &GPIO_InitStruct);

  /*Configure GPIO pin : EEPROM_CS_Pin */
  GPIO_InitStruct.Pin = EEPROM_CS_Pin;
  GPIO_InitStruct.Mode = GPIO_MODE_OUTPUT_PP;
  GPIO_InitStruct.Pull = GPIO_NOPULL;
  GPIO_InitStruct.Speed = GPIO_SPEED_FREQ_LOW;
  HAL_GPIO_Init(EEPROM_CS_GPIO_Port, &GPIO_InitStruct);

}

/* USER CODE BEGIN 4 */
void HAL_I2C_MemRxCpltCallback(I2C_HandleTypeDef *hi2c)
{
    if (hi2c->Instance == I2C1)
    {
        // 0x27 읽기가 끝남
        if (i2c_step == 1)
        {
            if (HAL_I2C_Mem_Read_DMA(&hi2c1, SLAVE_ADDR << 1, PMIC_STATUS2, I2C_MEMADD_SIZE_8BIT, &status2.value, 1) == HAL_OK)
                i2c_step = 2;
        }

        // 0x28 읽기까지 끝남
        else if (i2c_step == 2)
        {
        	if (status1.bit.PGBUCK2 == 0 || status2.bit.otwarning == 1 || status2.bit.otempp == 1)
			{
        		brake_dtc.dtc[0] = 0x12;
				brake_dtc.dtc[1] = 0x34;
				brake_dtc.dtc[2] = 0x56;

        		    brake_dtc.status.value = 0x26;

				dtc_save_request = 1;
			}

        	i2c_step = 0;
        }
    }
}

/* 테스트용 콜백 */
void HAL_I2C_MemTxCpltCallback(I2C_HandleTypeDef *hi2c)
{
    if (hi2c->Instance == I2C1)
    {
        pmic_voltage_write_busy = 0;
        pmic_voltage_change_request = 0;

        uint8_t msg[] = "PMIC Buck4 Voltage Set Complete\r\n";

		HAL_UART_Transmit(
			&huart4,
			msg,
			sizeof(msg) - 1,
			HAL_MAX_DELAY
		);
    }

}

void WorkI2C(void)
{
	/* PMIC 전압 변경 요청 */
	    if (pmic_voltage_change_request == 1 &&
	        pmic_voltage_write_busy == 0 &&
	        i2c_step == 0)
	    {
	        if (HAL_I2C_Mem_Write_DMA(
	                &hi2c1,
	                SLAVE_ADDR << 1,
	                PMIC_BUCK4_VREF_REG,
	                I2C_MEMADD_SIZE_8BIT,
	                &buck4_vref_data,
	                1) == HAL_OK)
	        {
	            pmic_voltage_write_busy = 1;
	        }

	        return;
	    }

	/* 기존 */
    if (i2c_step != 0)
        return;

    if (HAL_I2C_Mem_Read_DMA(&hi2c1, SLAVE_ADDR << 1, PMIC_STATUS1, I2C_MEMADD_SIZE_8BIT, &status1.value, 1) == HAL_OK) i2c_step = 1;

}

void HAL_SPI_TxCpltCallback(SPI_HandleTypeDef *hspi)
{
	if (hspi->Instance != SPI1) return;

	    EEPROM_CS_HIGH();
	    spi_busy = 0;

	    /* WREN 완료 */
	    if (eeprom_step == 1)
	    {
	    	EEPROM_CS_HIGH();

			spi_busy = 0;

			/* WRITE Packet 생성 */

			eeprom_write_data[0] = EEPROM_CMD_WRITE;

			eeprom_write_data[1] =
				(uint8_t)((EEPROM_DTC_ADDR >> 8) & 0xFF);

			eeprom_write_data[2] =
				(uint8_t)(EEPROM_DTC_ADDR & 0xFF);

			/* DTC 3Byte */
			eeprom_write_data[3] = brake_dtc.dtc[0];
			eeprom_write_data[4] = brake_dtc.dtc[1];
			eeprom_write_data[5] = brake_dtc.dtc[2];

			/* Status 1Byte */
			eeprom_write_data[6] =
				brake_dtc.status.value;

	        EEPROM_CS_LOW();

	        if (HAL_SPI_Transmit_DMA(&hspi1, eeprom_write_data, 7) == HAL_OK)
	        {
	            spi_busy = 1;
	            eeprom_step = 2;
	        }
	        else
	        {
	            EEPROM_CS_HIGH();
	            eeprom_error = 1;
	            eeprom_step = 0;
	        }
	    }

	    /* WRITE 완료 */
	    else if (eeprom_step == 2)
	    {
	    	EEPROM_CS_HIGH();
			spi_busy = 0;
	        eeprom_step = 3;
	    }
}

void HAL_SPI_TxRxCpltCallback(SPI_HandleTypeDef *hspi)
{
    if (hspi->Instance != SPI1)
        return;

    /*
     * Step 4
     * RDSR 완료
     */
    if (eeprom_step == 4)
    {
        EEPROM_CS_HIGH();

        spi_busy = 0;

        /*
         * RDSR 명령 다음 Byte가 실제 Status Register 값
         */
        uint8_t status =
            eeprom_status_rx[1];

        /*
         * bit0 = WIP
         *
         * 1 : Write 진행 중
         * 0 : Write 완료
         */
        if ((status & 0x01) != 0)
        {
            /*
             * 아직 Write 중
             * 다시 RDSR 수행
             */
            eeprom_step = 3;
        }
        else
        {
            /*
             * Write 완료
             * READ-back 단계로 이동
             */
            eeprom_step = 5;
        }
    }

    /*
     * Step 6
     * EEPROM READ-back 완료
     */
    else if (eeprom_step == 6)
    {
        EEPROM_CS_HIGH();

        spi_busy = 0;

        /*
         * RX[0] : READ command 동안 수신한 Dummy
         * RX[1] : Address High 동안 Dummy
         * RX[2] : Address Low 동안 Dummy
         *
         * 실제 EEPROM Data는 RX[3]부터 시작
         */

        eeprom_read_data[0] =
            eeprom_read_rx[3];

        eeprom_read_data[1] =
            eeprom_read_rx[4];

        eeprom_read_data[2] =
            eeprom_read_rx[5];

        eeprom_read_data[3] =
            eeprom_read_rx[6];

        /*
         * WRITE한 값과
         * READ-back 값을 비교
         */
        if ((eeprom_read_data[0] == eeprom_write_data[3]) &&
            (eeprom_read_data[1] == eeprom_write_data[4]) &&
            (eeprom_read_data[2] == eeprom_write_data[5]) &&
            (eeprom_read_data[3] == eeprom_write_data[6]))
        {
            /* 정상 저장 */
            dtc_read_ready = 1;
            eeprom_error = 0;
        }
        else
        {
            /* 저장값 불일치 */
            dtc_read_ready = 0;
            eeprom_error = 1;
        }

        /* EEPROM 처리 종료 */
        dtc_save_request = 0;
        eeprom_step = 0;
    }
}

void WorkSPI(void)
{
	if (spi_busy == 1)
		return;

	/* Step 0 : DTC 저장 요청 → WREN */
	if ((dtc_save_request == 1) &&
		(eeprom_step == 0))
	{
		EEPROM_CS_LOW();

		if (HAL_SPI_Transmit_DMA(
				&hspi1,
				&eeprom_wren_cmd,
				1) == HAL_OK)
		{
			spi_busy = 1;
			eeprom_step = 1;
		}
		else
		{
			EEPROM_CS_HIGH();

			eeprom_error = 1;
		}
	}

	/* Step 3 : WRITE 완료 후 Status Register 확인 */
	else if (eeprom_step == 3)
	{
		eeprom_status_tx[0] = EEPROM_CMD_RDSR;
		eeprom_status_tx[1] = 0x00;

		EEPROM_CS_LOW();

		if (HAL_SPI_TransmitReceive_DMA(
				&hspi1,
				eeprom_status_tx,
				eeprom_status_rx,
				2) == HAL_OK)
		{
			spi_busy = 1;
			eeprom_step = 4;
		}
		else
		{
			EEPROM_CS_HIGH();

			eeprom_error = 1;
		}
	}

	/* Step 5 : WRITE 완료 → EEPROM READ-back */
	else if (eeprom_step == 5)
	{
		/*
		 * SPI Full Duplex이므로
		 * READ 명령 + 주소 2Byte를 보내고
		 * 뒤의 4Byte는 Dummy Byte를 보내면서 데이터를 수신
		 */

		eeprom_read_tx[0] = EEPROM_CMD_READ;

		eeprom_read_tx[1] =
			(uint8_t)((EEPROM_DTC_ADDR >> 8) & 0xFF);

		eeprom_read_tx[2] =
			(uint8_t)(EEPROM_DTC_ADDR & 0xFF);

		eeprom_read_tx[3] = 0x00;
		eeprom_read_tx[4] = 0x00;
		eeprom_read_tx[5] = 0x00;
		eeprom_read_tx[6] = 0x00;

		EEPROM_CS_LOW();

		if (HAL_SPI_TransmitReceive_DMA(
				&hspi1,
				eeprom_read_tx,
				eeprom_read_rx,
				7) == HAL_OK)
		{
			spi_busy = 1;
			eeprom_step = 6;
		}
		else
		{
			EEPROM_CS_HIGH();

			eeprom_error = 1;
		}
	}

}

void HAL_CAN_RxFifo0MsgPendingCallback(CAN_HandleTypeDef *hcan)
{
    if (hcan->Instance == CAN1)
    {
        HAL_CAN_GetRxMessage(
            hcan,
            CAN_RX_FIFO0,
            &RxHeader,
            RxData
        );

        can_rx_flag = 1;
    }
}

void WorkCAN(void){
	if (can_rx_flag == 0)	return;

	can_rx_flag = 0;

	 /* UDS ReadDTCInformation */
	if (RxData[0] == 0x19 && RxData[1] == 0x08 && dtc_read_ready == 1)
	{
		TxHeader.StdId = 0x7E8;
		TxHeader.IDE = CAN_ID_STD;
		TxHeader.RTR = CAN_RTR_DATA;
		TxHeader.DLC = 7;

		TxData[0] = 0x59;                   // Positive Response
		TxData[1] = 0x0B;                   // reportFirstTestFailedDTC
		TxData[2] = 0xFF;                   // DTCStatusAvailabilityMask

		TxData[3] = eeprom_read_data[0];
		TxData[4] = eeprom_read_data[1];
		TxData[5] = eeprom_read_data[2];
		TxData[6] = eeprom_read_data[3];

		HAL_CAN_AddTxMessage(
			&hcan1,
			&TxHeader,
			TxData,
			&TxMailbox
		);
	}

	 /* UDS ClearDiagnosticInformation */
	else if (RxData[0] == 0x14)
	{
		/* DTC RAM Clear */
		brake_dtc.dtc[0] = 0x00;
		brake_dtc.dtc[1] = 0x00;
		brake_dtc.dtc[2] = 0x00;
		brake_dtc.status.value = 0x00;

		/* EEPROM에 Clear된 DTC 다시 저장 요청 */
		dtc_save_request = 1;

		/* 기존 Read-back 상태 초기화 */
		dtc_read_ready = 0;
		eeprom_error = 0;

		/* UDS Positive Response */
		TxHeader.StdId = 0x7E8;
		TxHeader.IDE = CAN_ID_STD;
		TxHeader.RTR = CAN_RTR_DATA;
		TxHeader.DLC = 1;

		TxData[0] = 0x54;

		HAL_CAN_AddTxMessage(
			&hcan1,
			&TxHeader,
			TxData,
			&TxMailbox
		);
	}
}

void WorkUART(void){
	static uint32_t last_tick = 0;

	if (HAL_GetTick() - last_tick >= 1000)
    {
        uint8_t msg[] = "System Normal\r\n";

        HAL_UART_Transmit(
            &huart4,
            msg,
            sizeof(msg) - 1,
            HAL_MAX_DELAY
        );

        last_tick = HAL_GetTick();
    }

}

/* USER CODE END 4 */

void StartDefaultTask(void *argument)
{
  for(;;)
  {
    osDelay(1);
  }
}

void StartI2CTask(void *argument)
{
  for(;;)
  {
    osDelay(1);
  }
}

void StartSPITask(void *argument)
{
  for(;;)
  {
    osDelay(1);
  }
}

void StartCANTask(void *argument)
{
  for(;;)
  {
    osDelay(1);
  }
}

void StartUARTTask(void *argument)
{
  for(;;)
  {
    osDelay(1);
  }
}

void Error_Handler(void)
{
  __disable_irq();
  while (1)
  {
  }
}
